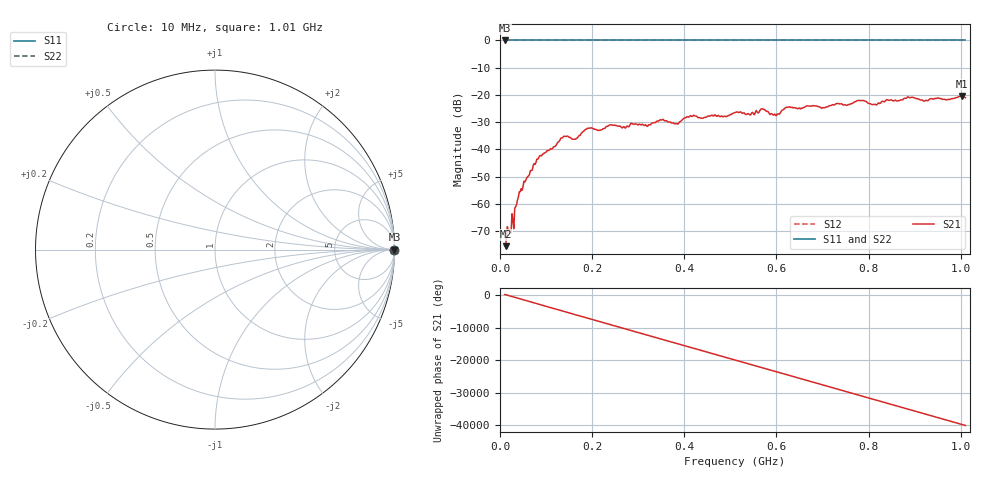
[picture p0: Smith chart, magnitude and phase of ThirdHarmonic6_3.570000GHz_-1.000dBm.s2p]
! 8/17/2025 11:49:50 AM
! C:\ANRITSUVNA\TEMP\TEMP.S2P
! CHANNEL.1
! TR.MEASUREMENT
! RAW.DATA
! RF.CORRECTION.OFF
! AVERAGING.OFF
! IF.BANDWIDTH: 5KHZ
! SWEEPTYPE:  FREQ.SWEEP(Linear)
! Reference Plane Port Info
! PORT:  PORT1  PORT2
! DISTANCE:  0  m  0  m
! TIME:  0  s  0  s
! PHASE.OFFSET:  0  deg.  0  deg.
! LOSS:  0  dB  0  dB
! REF.LOSS:  0  dB  0  dB
! REF.FREQ:  0  Hz  0  Hz
! Power Info
! POWER:  -20  dBm  -20  dBm
! EFF.POWER:  -20  dBm  -20  dBm
! SOURCE.ATTEN:  0  dB  0  dB
! TEST.ATTEN:  0  dB  0  dB
# GHZ S RI R 50.0
! FREQ.GHZ  S11RE  S11IM  S21RE  S21IM  S12RE  S12IM  S22RE  S22IM
!; PortSelection: Port_12
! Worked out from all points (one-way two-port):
!   501 points, 10 MHz to 1.01 GHz, reference 50 ohm
!   highest |S21| = -20.35 dB at 1.002 GHz (marker M1); lowest = -75.6 dB at 12 MHz (marker M2)
!   lowest |S11| = 0.0 dB at 10 MHz (marker M3)
!   |S11| at or under -10 dB: nowhere
!   |S22| runs from 0.0 to 0.0 dB; largest |S21 - S12| = 1.1
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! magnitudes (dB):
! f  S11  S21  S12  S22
! 10 MHz  0.0  -75.3  0.0  0.0
! 12 MHz  0.0  -75.6  0.0  0.0
! 26 MHz  0.0  -63.7  0.0  0.0
! 42 MHz  0.0  -55.6  0.0  0.0
! 84 MHz  0.0  -43.1  0.0  0.0
! 136 MHz  0.0  -35.7  0.0  0.0
! 162 MHz  0.0  -36.3  0.0  0.0
! 178 MHz  0.0  -33.8  0.0  0.0
! 194 MHz  0.0  -32.2  0.0  0.0
! 322 MHz  0.0  -31.1  0.0  0.0
! 344 MHz  0.0  -29.6  0.0  0.0
! 382 MHz  0.0  -30.5  0.0  0.0
! 416 MHz  0.0  -27.9  0.0  0.0
! 510 MHz  0.0  -26.5  0.0  0.0
! 570 MHz  0.0  -25.2  0.0  0.0
! 596 MHz  0.0  -27.0  0.0  0.0
! 624 MHz  0.0  -24.5  0.0  0.0
! 678 MHz  0.0  -24.1  0.0  0.0
! 814 MHz  0.0  -23.5  0.0  0.0
! 844 MHz  0.0  -22.0  0.0  0.0
! 1.002 GHz  0.0  -20.3  0.0  0.0
! 1.01 GHz  0.0  -21.0  0.0  0.0
